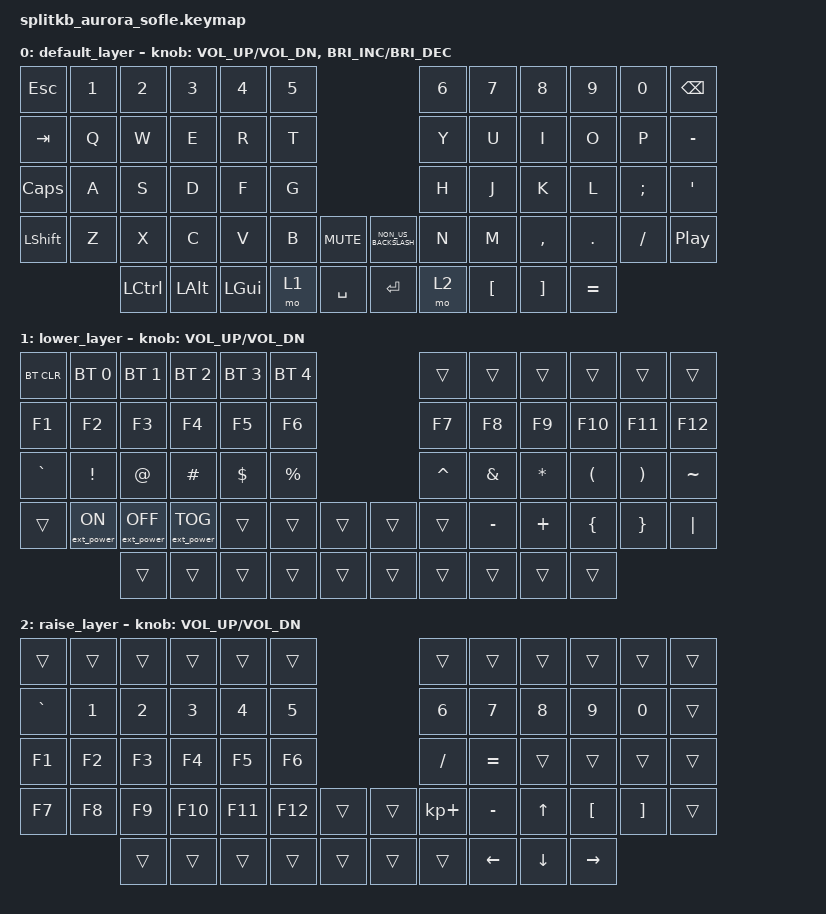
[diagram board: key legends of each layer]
/*
 * Copyright (c) 2023 The ZMK Contributors
 *
 * SPDX-License-Identifier: MIT
 */

#include <behaviors.dtsi>
#include <dt-bindings/zmk/bt.h>
#include <dt-bindings/zmk/ext_power.h>
#include <dt-bindings/zmk/keys.h>

/* Uncomment this block if using RGB
&led_strip {
    chain-length = <6>;
    // chain-length = <35>; // Uncomment if using both per-key and underglow LEDs
    // chain-length = <29>; // Uncomment if using only per-key LEDs.
};
 */

/ {
    keymap {
        compatible = "zmk,keymap";

        default_layer {
            // ------------------------------------------------------------------------------------------------------------
            // |  ESC  |  1  |  2  |  3   |  4   |  5   |                   |  6   |  7    |  8    |  9   |   0   |   `   |
            // |  TAB  |  Q  |  W  |  E   |  R   |  T   |                   |  Y   |  U    |  I    |  O   |   P   |   -   |
            // |  CTRL |  A  |  S  |  D   |  F   |  G   |                   |  H   |  J    |  K    |  L   |   ;   |   '   |
            // | SHIFT |  Z  |  X  |  C   |  V   |  B   |   "["  |  |  "]"  |  N   |  M    |  ,    |  .   |   /   | SHIFT |
            //               |CTRL | ALT  | GUI  | LOWER|  SPACE |  | ENTER | RAISE| BSPC  | GUI   | RALT |

            bindings = <
&kp ESC       &kp N1  &kp N2     &kp N3    &kp N4    &kp N5                                      &kp N6  &kp N7            &kp N8             &kp N9     &kp N0    &kp BACKSPACE
&kp TAB       &kp Q   &kp W      &kp E     &kp R     &kp T                                       &kp Y   &kp U             &kp I              &kp O      &kp P     &kp MINUS
&kp CAPSLOCK  &kp A   &kp S      &kp D     &kp F     &kp G                                       &kp H   &kp J             &kp K              &kp L      &kp SEMI  &kp SQT
&kp LSHFT     &kp Z   &kp X      &kp C     &kp V     &kp B   &kp K_MUTE    &kp NON_US_BACKSLASH  &kp N   &kp M             &kp COMMA          &kp DOT    &kp FSLH  &kp C_PLAY_PAUSE
                      &kp LCTRL  &kp LALT  &kp LGUI  &mo 1   &kp SPACE     &kp RET               &mo 2   &kp LEFT_BRACKET  &kp RIGHT_BRACKET  &kp EQUAL
            >;

            sensor-bindings =
                <&inc_dec_kp C_VOL_UP C_VOL_DN>,
                <&inc_dec_kp C_BRIGHTNESS_INC C_BRIGHTNESS_DEC>;
        };

        lower_layer {
            // ------------------------------------------------------------------------------------------------------------
            // | BTCLR | BT1 | BT2 |  BT3 |  BT4 |  BT5 |                   |      |       |       |      |       |       |
            // |  F1   |  F2 |  F3 |  F4  |  F5  |  F6  |                   |  F7  |  F8   |  F9   |  F10 |  F11  |  F12  |
            // |   `   |  !  |  @  |  #   |  $   |  %   |                   |  ^   |  &    |  *    |  (   |   )   |   ~   |
            // |       |     |     |      |      |      |        |  |       |      |  _    |  +    |  {   |   }   |  "|"  |
            //               |     |      |      |      |        |  |       |      |       |       |      |

            bindings = <
&bt BT_CLR  &bt BT_SEL 0      &bt BT_SEL 1       &bt BT_SEL 2       &bt BT_SEL 3  &bt BT_SEL 4                    &trans     &trans     &trans    &trans    &trans    &trans
&kp F1      &kp F2            &kp F3             &kp F4             &kp F5        &kp F6                          &kp F7     &kp F8     &kp F9    &kp F10   &kp F11   &kp F12
&kp GRAVE   &kp EXCL          &kp AT             &kp HASH           &kp DOLLAR    &kp PRCNT                       &kp CARET  &kp AMPS   &kp STAR  &kp LPAR  &kp RPAR  &kp TILDE
&trans      &ext_power EP_ON  &ext_power EP_OFF  &ext_power EP_TOG  &trans        &trans        &trans    &trans  &trans     &kp MINUS  &kp PLUS  &kp LBRC  &kp RBRC  &kp PIPE
                              &trans             &trans             &trans        &trans        &trans    &trans  &trans     &trans     &trans    &trans
            >;

            sensor-bindings = <&inc_dec_kp C_VOL_UP C_VOL_DN>;
        };

        raise_layer {
            // ------------------------------------------------------------------------------------------------------------
            // |       |     |     |      |      |      |                   |      |       |       |      |       |       |
            // |   `   |  1  |  2  |  3   |  4   |  5   |                   |  6   |   7   |   8   |  9   |   0   |       |
            // |   F1  |  F2 |  F3 |  F4  |  F5  |  F6  |                   |      |   <-  |   v   |  ^   |  ->   |       |
            // |   F7  |  F8 |  F9 |  F10 |  F11 |  F12 |        |  |       |  +   |   -   |   =   |  [   |   ]   |   \   |
            //               |     |      |      |      |        |  |       |      |       |       |      |

            bindings = <
&trans     &trans  &trans  &trans   &trans   &trans                     &trans       &trans          &trans          &trans           &trans    &trans
&kp GRAVE  &kp N1  &kp N2  &kp N3   &kp N4   &kp N5                     &kp N6       &kp N7          &kp N8          &kp N9           &kp N0    &trans
&kp F1     &kp F2  &kp F3  &kp F4   &kp F5   &kp F6                     &kp SLASH    &kp EQUAL       &trans          &trans           &trans    &trans
&kp F7     &kp F8  &kp F9  &kp F10  &kp F11  &kp F12  &trans    &trans  &kp KP_PLUS  &kp MINUS       &kp UP_ARROW    &kp LBKT         &kp RBKT  &trans
                   &trans  &trans   &trans   &trans   &trans    &trans  &trans       &kp LEFT_ARROW  &kp DOWN_ARROW  &kp RIGHT_ARROW
            >;

            sensor-bindings = <&inc_dec_kp C_VOL_UP C_VOL_DN>;
        };
    };
};
